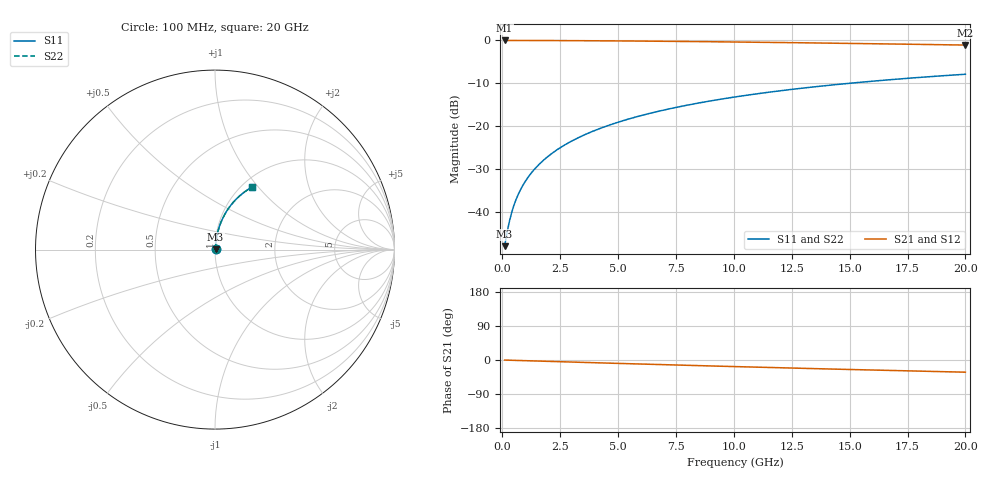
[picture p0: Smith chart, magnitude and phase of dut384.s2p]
! Touchstone file exported from HFSS 2024.1.0
!  File:  C:/UserFiles/LocalFiles/RDL_TSV_Batchsim/temp_RDL_top_384_1779609502.aedt
!  Generated:  04:01:00 PM May 24, 2026
!  Design:  RDL_top
!  Project:  temp_RDL_top_384_1779609502
!  Setup:  Setup1
!  Solution:  Sweep
! Variables:
!  dtsv = 10.80580581um
!  hbump = 3um
!  htsv = 74.63um
!  ldown = 100um
!  lrdl = 372.96um
!  p = 40
!  p1 = 50.78um
!  rhole = 1um
!  t = 450um
!  tdown = 3.915915916um
!  trdl = 4um
!  wdown = 15.38538539um
!  wrdl = 10.31um
# GHz S MA R 50.000000
! Terminal data exported
! Port[1] = Box2_T1
! Port[2] = Box2_T2
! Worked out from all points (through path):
!   200 points, 100 MHz to 20 GHz, reference 50 ohm
!   highest |S21| = -0.03 dB at 100 MHz (marker M1); lowest = -1.1 dB at 20 GHz (marker M2)
!   group delay of S21, straight-line fit = 4.46 ps
!   lowest |S11| = -48.0 dB at 100 MHz (marker M3), VSWR 1.01, Z = 50.3 + j0.231 ohm
!   |S11| at or under -10 dB: start of sweep to 15.01 GHz
!   |S22| runs from -48.0 to -7.9 dB; largest |S21 - S12| = 3.2e-15
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0.1  0.003996 35.0  0.9967 -0.2  0.9967 -0.2  0.003996 35.0
! Gamma 0 0 0 0
! Port Impedance 50 0 50 0
0.2  0.005652 54.1  0.9967 -0.4  0.9967 -0.4  0.005652 54.1
0.3  0.00764 63.7  0.9966 -0.6  0.9966 -0.6  0.00764 63.7
0.4  0.00975 69.2  0.9965 -0.7  0.9965 -0.7  0.00975 69.2
0.5  0.01191 72.6  0.9965 -0.9  0.9965 -0.9  0.01191 72.6
0.6  0.01409 74.9  0.9964 -1.1  0.9964 -1.1  0.01409 74.9
0.8  0.01847 77.8  0.9962 -1.5  0.9962 -1.5  0.01847 77.8
1.1  0.02508 80.0  0.9958 -2.0  0.9958 -2.0  0.02508 80.0
1.5  0.03391 81.5  0.9953 -2.7  0.9953 -2.7  0.03391 81.5
1.8  0.04055 82.0  0.9948 -3.3  0.9948 -3.3  0.04055 82.0
2.1  0.04719 82.2  0.9942 -3.8  0.9942 -3.8  0.04719 82.2
2.7  0.06047 82.3  0.9928 -4.9  0.9928 -4.9  0.06047 82.3
3.5  0.07816 81.8  0.9905 -6.3  0.9905 -6.3  0.07816 81.8
4.2  0.09359 81.2  0.988 -7.6  0.988 -7.6  0.09359 81.2
5  0.1112 80.3  0.9848 -9.0  0.9848 -9.0  0.1112 80.3
5.9  0.1308 79.2  0.9807 -10.5  0.9807 -10.5  0.1308 79.2
6.8  0.1503 78.0  0.9762 -12.1  0.9762 -12.1  0.1503 78.0
8.3  0.1823 76.0  0.9677 -14.6  0.9677 -14.6  0.1823 76.0
10.1  0.2199 73.4  0.9564 -17.5  0.9564 -17.5  0.2199 73.4
13.4  0.2858 68.6  0.9332 -22.7  0.9332 -22.7  0.2858 68.7
16.7  0.3469 64.0  0.9077 -27.5  0.9077 -27.5  0.3469 64.0
20  0.4027 59.5  0.8808 -32.1  0.8808 -32.1  0.4027 59.5
